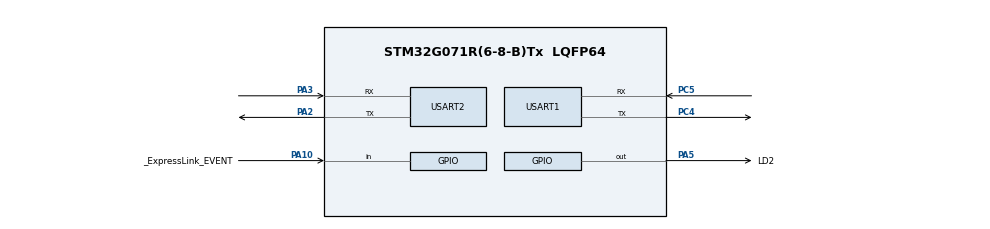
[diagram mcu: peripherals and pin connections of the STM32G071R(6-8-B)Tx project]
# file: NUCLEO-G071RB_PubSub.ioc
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Mcu.Family=STM32G0
Mcu.Name=STM32G071R(6-8-B)Tx
Mcu.Package=LQFP64
PA10.GPIO_Label=_ExpressLink_EVENT
PA10.Signal=GPIO_Input
PA2.Mode=Asynchronous
PA2.Signal=USART2_TX
PA3.Mode=Asynchronous
PA3.Signal=USART2_RX
PA5.GPIO_Label=LD2
PA5.GPIO_Speed=GPIO_SPEED_FREQ_HIGH
PA5.PinState=GPIO_PIN_SET
PA5.Signal=GPIO_Output
PC4.Mode=Asynchronous
PC4.Signal=USART1_TX
PC5.Mode=Asynchronous
PC5.Signal=USART1_RX
ProjectManager.HeapSize=0x200
ProjectManager.StackSize=0x800
ProjectManager.TargetToolchain=STM32CubeIDE
RCC.ADCFreq_Value=64000000
RCC.AHBFreq_Value=64000000
RCC.CortexFreq_Value=64000000
RCC.EXTERNAL_CLOCK_VALUE=12288000
RCC.HCLKFreq_Value=64000000
RCC.HSE_VALUE=8000000
RCC.HSI_VALUE=16000000
RCC.LSE_VALUE=32768
RCC.SYSCLKFreq_VALUE=64000000
RCC.SYSCLKSource=RCC_SYSCLKSOURCE_PLLCLK
RCC.VCOOutputFreq_Value=128000000
STMicroelectronics.I-CUBE-ExpressLink.1.0.0.EXPRESSLINK_APN="nxt20.net"
STMicroelectronics.I-CUBE-ExpressLink.1.0.0.EXPRESSLINK_AWS_IOT_ENDPOINT="a1qwhobjtvew8t-ats.iot.us-west-1.amazonaws.com"
STMicroelectronics.I-CUBE-ExpressLink.1.0.0.EXPRESSLINK_DEBUG=1
STMicroelectronics.I-CUBE-ExpressLink.1.0.0.EXPRESSLINK_WIFI_PASSWORD="stm32u585"
STMicroelectronics.I-CUBE-ExpressLink.1.0.0.EXPRESSLINK_WIFI_SSID="st_iot_demo"
STMicroelectronics.I-CUBE-ExpressLink.1.0.0.ExpressLinkCcDriverJjExpressLink=true
STMicroelectronics.I-CUBE-STDIO.1.5.0.STDIN_UART_HANDLER=huart2
STMicroelectronics.I-CUBE-STDIO.1.5.0.STDIOCcCompilerJjIOoOJjSTDOUT=USART
STMicroelectronics.I-CUBE-STDIO.1.5.0.STDOUT_UART_HANDLER=huart2
USART1.VirtualMode-Asynchronous=VM_ASYNC
USART2.VirtualMode-Asynchronous=VM_ASYNC
VP_STMicroelectronics.I-CUBE-ExpressLink_VS_DriverJjExpressLink_1.0.0_1.0.0.Mode=DriverJjExpressLink
VP_STMicroelectronics.I-CUBE-STDIO_VS_CompilerJjSTDIO_1.0.0_1.5.0.Mode=CompilerJjSTDIO
board=custom

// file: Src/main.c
/* USER CODE BEGIN Header */
/**
******************************************************************************
* @file           : main.c
* @brief          : Main program body
******************************************************************************
* @attention
*
* Copyright (c) 2022 STMicroelectronics.
* All rights reserved.
*
* This software is licensed under terms that can be found in the LICENSE file
* in the root directory of this software component.
* If no LICENSE file comes with this software, it is provided AS-IS.
*
******************************************************************************
*/
/* USER CODE END Header */
#include "main.h"

/* USER CODE BEGIN Includes */
#include <stdio.h>
#include <stdlib.h>
#include <string.h>
#include "ExpressLink.h"
/* USER CODE END Includes */

/* USER CODE BEGIN PD */
#define MQTT_PUBLISH_TIME_BETWEEN_MS         ( 3000 )

#define TOPIC_INDEX                          1

#define NUMBER_OF_LOOPS   (3600000/MQTT_PUBLISH_TIME_BETWEEN_MS) /* Loop for 1h */
/* USER CODE END PD */

UART_HandleTypeDef huart1;
UART_HandleTypeDef huart2;

/* USER CODE BEGIN PV */
char * response;

char payloadBuf[ EXPRESSLINK_TX_BUFFER_SIZE ];
char topic     [ EXPRESSLINK_TX_BUFFER_SIZE ];

MQTTPublishInfo_t msg;

int n = 0;

static unsigned long last_send_time = 0;

uint32_t nloops = NUMBER_OF_LOOPS;
/* USER CODE END PV */

void SystemClock_Config(void);
static void MX_GPIO_Init(void);
static void MX_USART2_UART_Init(void);
static void MX_USART1_UART_Init(void);
/* USER CODE BEGIN PFP */

static void appInit(void);
static void Process(void);

/* USER CODE END PFP */

/* USER CODE BEGIN 0 */
void ExpressLink_EventCallback(ExpressLink_event_t event)
{
  switch (event.id)
  {
  case EXPRESSLINK_EVENT_NONE:
    break;

  case EXPRESSLINK_EVENT_MESSAGE:
#if EXPRESSLINK_DEBUG
    printf("[INFO] Message receiced on topic %d\r\n", (int)event.param);
#endif

    ExpressLink_GetMessage(&msg);

    printf("[INFO] Message received:\r\n Topic  : %s Message: %s\r\n", msg.pTopic, msg.pPayload);
    break;

  case EXPRESSLINK_EVENT_STARTUP:
    {
#if EXPRESSLINK_DEBUG
      printf("[INFO] Module started\r\n");
#endif

      ExpressLink_SetState(EXPRESSLINK_STATE_READY);
    }
    break;

  case EXPRESSLINK_EVENT_CONLOST:
    {
#if EXPRESSLINK_DEBUG
      printf("[ERROR] Connection lost\r\n");
#endif
      ExpressLink_SetState(EXPRESSLINK_STATE_ERROR);
    }
    break;

  case EXPRESSLINK_EVENT_OVERRUN:
    {
#if EXPRESSLINK_DEBUG
      printf("[ERROR] Overrun error\r\n");
#endif

      ExpressLink_SetState(EXPRESSLINK_STATE_ERROR);
    }
    break;

  case EXPRESSLINK_EVENT_OTA:
#if EXPRESSLINK_DEBUG
    printf("[INFO] OTA received\r\n");
#endif
    break;

  case EXPRESSLINK_EVENT_CONNECT:
#if EXPRESSLINK_DEBUG
    printf("[INFO] Connect event with Connection Hint %d\r\n", (int)event.param);
#endif
    break;

  case EXPRESSLINK_EVENT_CONFMODE:
#if EXPRESSLINK_DEBUG
    printf("[INFO] Conf mode\r\n");
#endif
    break;

  case EXPRESSLINK_EVENT_SUBACK:
#if EXPRESSLINK_DEBUG
    printf("[INFO] A subscription was accepted. Topic Index %d\r\n", (int)event.param);
#endif
    break;

  case EXPRESSLINK_EVENT_SUBNACK:
#if EXPRESSLINK_DEBUG
    printf("[INFO] A subscription was rejected. Topic Index %d\r\n", (int)event.param);
#endif
    break;

  case EXPRESSLINK_EVENT_SHADOW_INIT:
#if EXPRESSLINK_DEBUG
    printf("[INFO] Shadow[Shadow Index] interface was initialized successfully. Topic Index %d\r\n", (int)event.param);
#endif
    break;

  case EXPRESSLINK_EVENT_SHADOW_INIT_FAILED:
#if EXPRESSLINK_DEBUG
    printf("[INFO] The SHADOW[Shadow Index] interface initialization failed. Topic Index %d\r\n", (int)event.param);
#endif
    break;

  case EXPRESSLINK_EVENT_SHADOW_INIT_DOC:
#if EXPRESSLINK_DEBUG
    printf("[INFO] A Shadow document was received. Topic Index %d\r\n", (int)event.param);
#endif
    break;

  case EXPRESSLINK_EVENT_SHADOW_UPDATE:
#if EXPRESSLINK_DEBUG
    printf("[INFO] A Shadow update result was received. Topic Index %d\r\n", (int)event.param);
#endif
    break;

  case EXPRESSLINK_EVENT_SHADOW_DELTA:
#if EXPRESSLINK_DEBUG
    printf("[INFO] A Shadow delta update was received. Topic Index %d\r\n", (int)event.param);
#endif
    break;

  case EXPRESSLINK_EVENT_SHADOW_DELETE:
#if EXPRESSLINK_DEBUG
    printf("[INFO] A Shadow delete result was received. Topic Index %d\r\n", (int)event.param);
#endif
    break;

  case EXPRESSLINK_EVENT_SHADOW_SUBACK:
#if EXPRESSLINK_DEBUG
    printf("[INFO] A Shadow delta subscription was accepted. Topic Index %d\r\n", (int)event.param);
#endif
    break;

  case EXPRESSLINK_EVENT_SHADOW_SUBNACK:
#if EXPRESSLINK_DEBUG
    printf("[INFO] A Shadow delta subscription was rejected. Topic Index %d\r\n", (int)event.param);
#endif
    break;

  default:
#if EXPRESSLINK_DEBUG
    printf("[INFO] Other event received: %d\r\n", (int)event.id);
#endif
    break;
  }
}
/* USER CODE END 0 */

int main(void)
{

  /* MCU Configuration--------------------------------------------------------*/

  /* Reset of all peripherals, Initializes the Flash interface and the Systick. */
  HAL_Init();

  /* Configure the system clock */
  SystemClock_Config();

  /* Initialize all configured peripherals */
  MX_GPIO_Init();
  MX_USART2_UART_Init();
  MX_USART1_UART_Init();
  /* USER CODE BEGIN 2 */

  appInit();

  /* USER CODE END 2 */

  /* Infinite loop */
  /* USER CODE BEGIN WHILE */
  while (1)
  {
    Process();
    /* USER CODE END WHILE */

  }
}

void SystemClock_Config(void)
{
  LL_FLASH_SetLatency(LL_FLASH_LATENCY_2);
  while(LL_FLASH_GetLatency() != LL_FLASH_LATENCY_2)
  {
  }

  /* HSI configuration and activation */
  LL_RCC_HSI_Enable();
  while(LL_RCC_HSI_IsReady() != 1)
  {
  }

  /* Main PLL configuration and activation */
  LL_RCC_PLL_ConfigDomain_SYS(LL_RCC_PLLSOURCE_HSI, LL_RCC_PLLM_DIV_1, 8, LL_RCC_PLLR_DIV_2);
  LL_RCC_PLL_Enable();
  LL_RCC_PLL_EnableDomain_SYS();
  while(LL_RCC_PLL_IsReady() != 1)
  {
  }

  /* Set AHB prescaler*/
  LL_RCC_SetAHBPrescaler(LL_RCC_SYSCLK_DIV_1);

  /* Sysclk activation on the main PLL */
  LL_RCC_SetSysClkSource(LL_RCC_SYS_CLKSOURCE_PLL);
  while(LL_RCC_GetSysClkSource() != LL_RCC_SYS_CLKSOURCE_STATUS_PLL)
  {
  }

  /* Set APB1 prescaler*/
  LL_RCC_SetAPB1Prescaler(LL_RCC_APB1_DIV_1);
  /* Update CMSIS variable (which can be updated also through SystemCoreClockUpdate function) */
  LL_SetSystemCoreClock(64000000);

   /* Update the time base */
  if (HAL_InitTick (TICK_INT_PRIORITY) != HAL_OK)
  {
    Error_Handler();
  }
}

static void MX_USART1_UART_Init(void)
{

  huart1.Instance = USART1;
  huart1.Init.BaudRate = 115200;
  huart1.Init.WordLength = UART_WORDLENGTH_8B;
  huart1.Init.StopBits = UART_STOPBITS_1;
  huart1.Init.Parity = UART_PARITY_NONE;
  huart1.Init.Mode = UART_MODE_TX_RX;
  huart1.Init.HwFlowCtl = UART_HWCONTROL_NONE;
  huart1.Init.OverSampling = UART_OVERSAMPLING_16;
  huart1.Init.OneBitSampling = UART_ONE_BIT_SAMPLE_DISABLE;
  huart1.Init.ClockPrescaler = UART_PRESCALER_DIV1;
  huart1.AdvancedInit.AdvFeatureInit = UART_ADVFEATURE_NO_INIT;
  if (HAL_UART_Init(&huart1) != HAL_OK)
  {
    Error_Handler();
  }
  if (HAL_UARTEx_SetTxFifoThreshold(&huart1, UART_TXFIFO_THRESHOLD_1_8) != HAL_OK)
  {
    Error_Handler();
  }
  if (HAL_UARTEx_SetRxFifoThreshold(&huart1, UART_RXFIFO_THRESHOLD_1_8) != HAL_OK)
  {
    Error_Handler();
  }
  if (HAL_UARTEx_DisableFifoMode(&huart1) != HAL_OK)
  {
    Error_Handler();
  }

}

static void MX_USART2_UART_Init(void)
{

  huart2.Instance = USART2;
  huart2.Init.BaudRate = 115200;
  huart2.Init.WordLength = UART_WORDLENGTH_8B;
  huart2.Init.StopBits = UART_STOPBITS_1;
  huart2.Init.Parity = UART_PARITY_NONE;
  huart2.Init.Mode = UART_MODE_TX_RX;
  huart2.Init.HwFlowCtl = UART_HWCONTROL_NONE;
  huart2.Init.OverSampling = UART_OVERSAMPLING_16;
  huart2.Init.OneBitSampling = UART_ONE_BIT_SAMPLE_DISABLE;
  huart2.Init.ClockPrescaler = UART_PRESCALER_DIV1;
  huart2.AdvancedInit.AdvFeatureInit = UART_ADVFEATURE_NO_INIT;
  if (HAL_UART_Init(&huart2) != HAL_OK)
  {
    Error_Handler();
  }
  if (HAL_UARTEx_SetTxFifoThreshold(&huart2, UART_TXFIFO_THRESHOLD_1_8) != HAL_OK)
  {
    Error_Handler();
  }
  if (HAL_UARTEx_SetRxFifoThreshold(&huart2, UART_RXFIFO_THRESHOLD_1_8) != HAL_OK)
  {
    Error_Handler();
  }
  if (HAL_UARTEx_DisableFifoMode(&huart2) != HAL_OK)
  {
    Error_Handler();
  }

}

static void MX_GPIO_Init(void)
{
  GPIO_InitTypeDef GPIO_InitStruct = {0};

  /* GPIO Ports Clock Enable */
  __HAL_RCC_GPIOA_CLK_ENABLE();
  __HAL_RCC_GPIOC_CLK_ENABLE();

  /*Configure GPIO pin Output Level */
  HAL_GPIO_WritePin(LD2_GPIO_Port, LD2_Pin, GPIO_PIN_SET);

  /*Configure GPIO pin : LD2_Pin */
  GPIO_InitStruct.Pin = LD2_Pin;
  GPIO_InitStruct.Mode = GPIO_MODE_OUTPUT_PP;
  GPIO_InitStruct.Pull = GPIO_NOPULL;
  GPIO_InitStruct.Speed = GPIO_SPEED_FREQ_HIGH;
  HAL_GPIO_Init(LD2_GPIO_Port, &GPIO_InitStruct);

  /*Configure GPIO pin : _ExpressLink_EVENT_Pin */
  GPIO_InitStruct.Pin = _ExpressLink_EVENT_Pin;
  GPIO_InitStruct.Mode = GPIO_MODE_INPUT;
  GPIO_InitStruct.Pull = GPIO_NOPULL;
  HAL_GPIO_Init(_ExpressLink_EVENT_GPIO_Port, &GPIO_InitStruct);

}

/* USER CODE BEGIN 4 */
/**
* @brief ExpressLink module Configuration
* @retval None
*/
void appInit(void)
{
  ExpressLink_event_t event;

  msg.pTopic   = topic;
  msg.pPayload = payloadBuf;

  printf("[INFO] Starting\r\n");

  /* Detect if a ExpressLink module is present */
    do
    {
      HAL_Delay(ExpressLink_BOOT_DELAY);
      response = ExpressLink_Test();

      if(strstr(response, "OK") == NULL)
      {
    	  printf("[ERRR] Please make sure the ExpressLink module is plugged in and turned on!\r\n");
      }
    }while(strstr(response, "OK") == NULL);

  #if EXPRESSLINK_DEBUG
      printf("[INFO] Resetting ExpressLink module\r\n");
  #endif
    /* Reset the module */
    ExpressLink_Reset();

    do
    {
      event = ExpressLink_GetEvent(); /* Get event  */
     } while ((event.id == EXPRESSLINK_EVENT_ERROR) || (event.id == EXPRESSLINK_EVENT_NONE));

    ExpressLink_SetState(EXPRESSLINK_STATE_READY);

    /* Chack if it is a Wi-Fi or cellular module */
    response = ExpressLink_GetAPN();

    /* If Wi-Fi then set SSID and password */
    if(strstr(response, "OK") == NULL)
    {
  #if EXPRESSLINK_DEBUG
      printf("[INFO] Wi-Fi\r\n");
  #endif
      /* Set Wi-Fi SSID and password */
      ExpressLink_SetSSID      ((char *)&EXPRESSLINK_WIFI_SSID);
      ExpressLink_SetPassphrase((char *)&EXPRESSLINK_WIFI_PASSWORD);
    }
    else
    {
  #if EXPRESSLINK_DEBUG
      printf("[INFO] Cellular\r\n");
  #endif
    }

    ExpressLink_SetCustomName("STM32-EL-MX");

  /* Connect to AWS */
  response = ExpressLink_Connect();

  if(strcmp(response,"OK 1 CONNECTED\r\n") == 0)
  {
    printf("[INFO] Connected to AWS\r\n");

    ExpressLink_SetState(EXPRESSLINK_STATE_CONNECTED);
  }
  else
  {
    printf("[ERROR] %s", response);
    ExpressLink_SetState(EXPRESSLINK_STATE_ERROR);

    NVIC_SystemReset();
  }

  /* If we are successfuly connected to AWS, then configure the topics */
  if (ExpressLink_GetState() == EXPRESSLINK_STATE_CONNECTED)
  {
    /* Get the thing name */
    response = ExpressLink_GetThingName();
    response = ExpressLink_SetTopic        (TOPIC_INDEX    , response      );
    response = ExpressLink_SubscribeToTopic(TOPIC_INDEX);
  }
}

static void Process(void)
{
  ExpressLink_EventCallback(ExpressLink_GetEvent());

  if (ExpressLink_GetState() != EXPRESSLINK_STATE_CONNECTED)
  {
    NVIC_SystemReset();
  }

  if (HAL_GetTick() - last_send_time >= MQTT_PUBLISH_TIME_BETWEEN_MS)
  {
    last_send_time = HAL_GetTick();

    snprintf( payloadBuf, EXPRESSLINK_TX_BUFFER_SIZE, "Hello world %d!", n++);

    printf("[INFO] Sending MQTT message: %s\r\n", payloadBuf);

    response = ExpressLink_SendMessage(TOPIC_INDEX, payloadBuf);

      if (nloops-- == 0)
      {
        ExpressLink_Disonnect();

        printf("The demo has ended\r\n");

        __disable_irq();

        while(1)
        {
          ;
        }
      }
  }
}
/* USER CODE END 4 */

void Error_Handler(void)
{
  __disable_irq();
  while (1)
  {
  }
}
